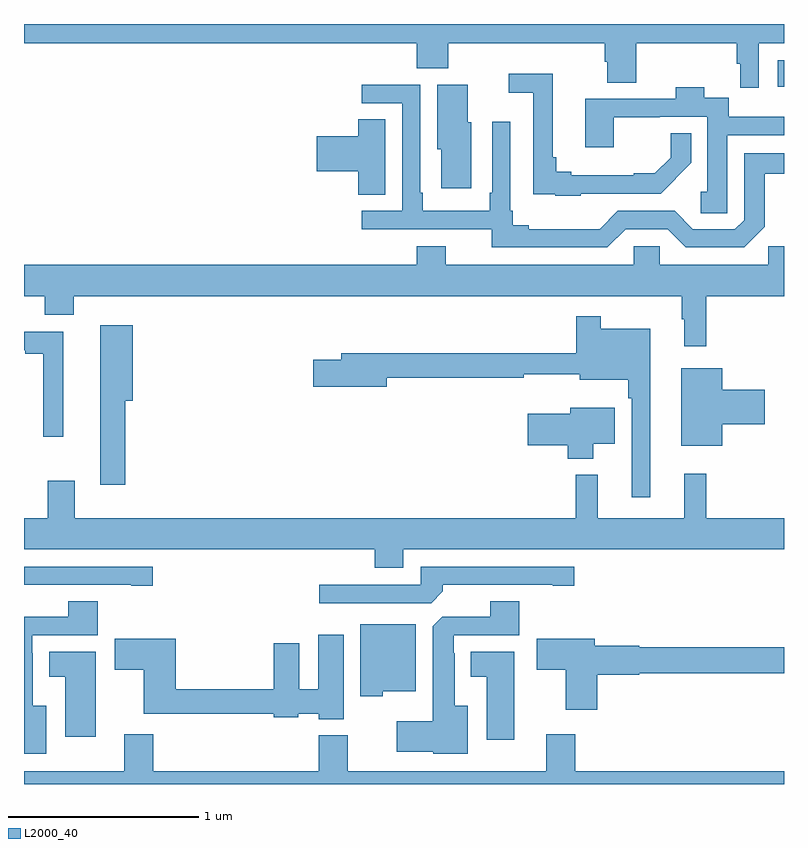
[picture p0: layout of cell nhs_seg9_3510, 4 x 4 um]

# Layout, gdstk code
import gdstk
lib = gdstk.Library(unit=1e-6, precision=1e-09)
def R(c, l, rs):  # rectangles x0, y0, x1, y1
    for r in rs: c.add(gdstk.rectangle(r[:2], r[2:], *l))
def P(c, l, *ps):  # polygons
    for p in ps: c.add(gdstk.Polygon(p, *l))
L2000_40 = (2000, 40)

nhs_seg9_3510 = lib.new_cell('nhs_seg9_3510')
R(nhs_seg9_3510, L2000_40, [(314.967,1216.169,315,1216.309)])
P(nhs_seg9_3510, L2000_40, [(314.868,1216.4),(315,1216.4),(315,1216.5),(311,1216.5),(311,1216.4),(313.067,1216.4),(313.067,1216.266),(313.232,1216.266),(313.232,1216.4),(314.057,1216.4),(314.057,1216.302),(314.069,1216.302),(314.069,1216.192),(314.222,1216.192),(314.222,1216.4),(314.752,1216.4),(314.752,1216.29),(314.771,1216.29),(314.771,1216.164),(314.868,1216.164)],
  [(313.929,1215.606),(314.35,1215.606),(314.429,1215.685),(314.428,1215.686),(314.512,1215.769),(314.512,1215.926),(314.403,1215.926),(314.403,1215.797),(314.319,1215.714),(314.21,1215.714),(314.21,1215.703),(313.879,1215.703),(313.879,1215.722),(313.801,1215.722),(313.801,1215.799),(313.783,1215.799),(313.783,1216.237),(313.551,1216.237),(313.551,1216.139),(313.679,1216.139),(313.679,1215.605),(313.797,1215.605),(313.797,1215.596),(313.929,1215.596)],
  [(313.354,1215.984),(313.336,1215.984),(313.336,1216.18),(313.175,1216.18),(313.175,1215.84),(313.196,1215.84),(313.196,1215.636),(313.354,1215.636)],
  [(314.166,1215.42),(314.388,1215.42),(314.484,1215.324),(314.79,1215.324),(314.899,1215.433),(314.899,1215.711),(315,1215.711),(315,1215.819),(314.79,1215.819),(314.79,1215.468),(314.742,1215.42),(314.52,1215.42),(314.424,1215.516),(314.124,1215.516),(314.029,1215.421),(313.657,1215.421),(313.657,1215.44),(313.573,1215.44),(313.573,1215.517),(313.56,1215.517),(313.56,1215.985),(313.464,1215.985),(313.464,1215.613),(313.452,1215.613),(313.452,1215.516),(313.099,1215.516),(313.099,1215.613),(313.086,1215.613),(313.086,1216.179),(312.777,1216.179),(312.777,1216.083),(312.99,1216.083),(312.99,1215.516),(312.777,1215.516),(312.777,1215.42),(313.462,1215.42),(313.462,1215.324),(314.07,1215.324)],
  [(314.7,1215.613),(314.701,1215.613),(314.701,1215.915),(315,1215.915),(315,1216.011),(314.979,1216.011),(314.979,1216.012),(314.71,1216.012),(314.71,1216.111),(314.581,1216.111),(314.581,1216.168),(314.429,1216.168),(314.429,1216.107),(313.955,1216.107),(313.955,1215.852),(314.103,1215.852),(314.103,1216.01),(314.345,1216.01),(314.345,1216.011),(314.597,1216.011),(314.597,1215.616),(314.562,1215.616),(314.562,1215.505),(314.7,1215.505)],
  [(312.901,1215.998),(312.758,1215.998),(312.758,1215.908),(312.54,1215.908),(312.54,1215.725),(312.758,1215.725),(312.758,1215.601),(312.901,1215.601)],
  [(314.591,1215.068),(315,1215.068),(315,1215.33),(314.917,1215.33),(314.917,1215.232),(314.346,1215.232),(314.346,1215.33),(314.208,1215.33),(314.208,1215.232),(313.219,1215.232),(313.219,1215.331),(313.067,1215.331),(313.067,1215.232),(311,1215.232),(311,1215.068),(311.108,1215.068),(311.108,1214.969),(311.261,1214.969),(311.261,1215.068),(314.463,1215.068),(314.463,1214.945),(314.474,1214.945),(314.474,1214.805),(314.591,1214.805)],
  [(314.296,1214.896),(314.035,1214.896),(314.035,1214.962),(313.906,1214.962),(313.906,1214.767),(312.671,1214.767),(312.671,1214.733),(312.522,1214.733),(312.522,1214.591),(312.91,1214.591),(312.91,1214.638),(313.629,1214.638),(313.629,1214.657),(313.925,1214.657),(313.925,1214.627),(314.179,1214.627),(314.179,1214.531),(314.199,1214.531),(314.199,1214.01),(314.296,1214.01)],
  [(311.534,1214.516),(311.573,1214.516),(311.573,1214.914),(311.402,1214.914),(311.402,1214.076),(311.534,1214.076)],
  [(311.206,1214.88),(311,1214.88),(311,1214.784),(311.006,1214.784),(311.006,1214.764),(311.102,1214.764),(311.102,1214.328),(311.206,1214.328)],
  [(314.674,1214.393),(314.899,1214.393),(314.899,1214.576),(314.674,1214.576),(314.674,1214.689),(314.459,1214.689),(314.459,1214.279),(314.674,1214.279)],
  [(313.996,1214.291),(314.11,1214.291),(314.11,1214.479),(313.874,1214.479),(313.874,1214.449),(313.65,1214.449),(313.65,1214.284),(313.862,1214.284),(313.862,1214.213),(313.996,1214.213)],
  [(312.997,1213.736),(315,1213.736),(315,1213.9),(314.591,1213.9),(314.591,1214.134),(314.474,1214.134),(314.474,1213.9),(314.021,1213.9),(314.021,1214.128),(313.903,1214.128),(313.903,1213.9),(311.266,1213.9),(311.266,1214.095),(311.126,1214.095),(311.126,1213.9),(311,1213.9),(311,1213.736),(312.845,1213.736),(312.845,1213.637),(312.997,1213.637)],
  [(311.677,1213.644),(311,1213.644),(311,1213.548),(311.564,1213.548),(311.564,1213.543),(311.677,1213.543)],
  [(313.205,1213.514),(313.205,1213.548),(313.784,1213.548),(313.784,1213.543),(313.897,1213.543),(313.897,1213.644),(313.089,1213.644),(313.089,1213.548),(312.555,1213.548),(312.555,1213.452),(313.143,1213.452)],
  [(311.116,1212.913),(311.047,1212.913),(311.047,1213.187),(311.043,1213.187),(311.043,1213.284),(311.387,1213.284),(311.387,1213.463),(311.234,1213.463),(311.234,1213.38),(311,1213.38),(311,1212.659),(311.116,1212.659)],
  [(313.336,1212.913),(313.267,1212.913),(313.267,1213.187),(313.263,1213.187),(313.263,1213.284),(313.607,1213.284),(313.607,1213.463),(313.454,1213.463),(313.454,1213.38),(313.2,1213.38),(313.151,1213.331),(313.151,1212.829),(312.963,1212.829),(312.963,1212.671),(313.155,1212.671),(313.155,1212.659),(313.336,1212.659)],
  [(312.888,1212.989),(313.063,1212.989),(313.063,1213.342),(312.77,1213.342),(312.77,1212.962),(312.888,1212.962)],
  [(312.682,1213.285),(312.548,1213.285),(312.548,1212.999),(312.448,1212.999),(312.448,1213.24),(312.314,1213.24),(312.314,1212.998),(311.798,1212.998),(311.798,1213.264),(311.478,1213.264),(311.478,1213.102),(311.63,1213.102),(311.63,1212.87),(312.314,1212.87),(312.314,1212.851),(312.444,1212.851),(312.444,1212.869),(312.552,1212.869),(312.552,1212.842),(312.682,1212.842)],
  [(314.018,1213.076),(314.238,1213.076),(314.238,1213.084),(315,1213.084),(315,1213.22),(314.238,1213.22),(314.238,1213.228),(314.005,1213.228),(314.005,1213.264),(313.698,1213.264),(313.698,1213.102),(313.85,1213.102),(313.85,1212.891),(314.018,1212.891)],
  [(313.579,1213.195),(313.352,1213.195),(313.352,1213.064),(313.436,1213.064),(313.436,1212.732),(313.579,1212.732)],
  [(311.377,1213.195),(311.132,1213.195),(311.132,1213.064),(311.216,1213.064),(311.216,1212.75),(311.377,1212.75)],
  [(315,1212.568),(313.901,1212.568),(313.901,1212.763),(313.748,1212.763),(313.748,1212.568),(312.703,1212.568),(312.703,1212.757),(312.551,1212.757),(312.551,1212.568),(311.681,1212.568),(311.681,1212.763),(311.528,1212.763),(311.528,1212.568),(311,1212.568),(311,1212.5),(315,1212.5)])

lib.write_gds('nhs_seg9_3510.gds')
